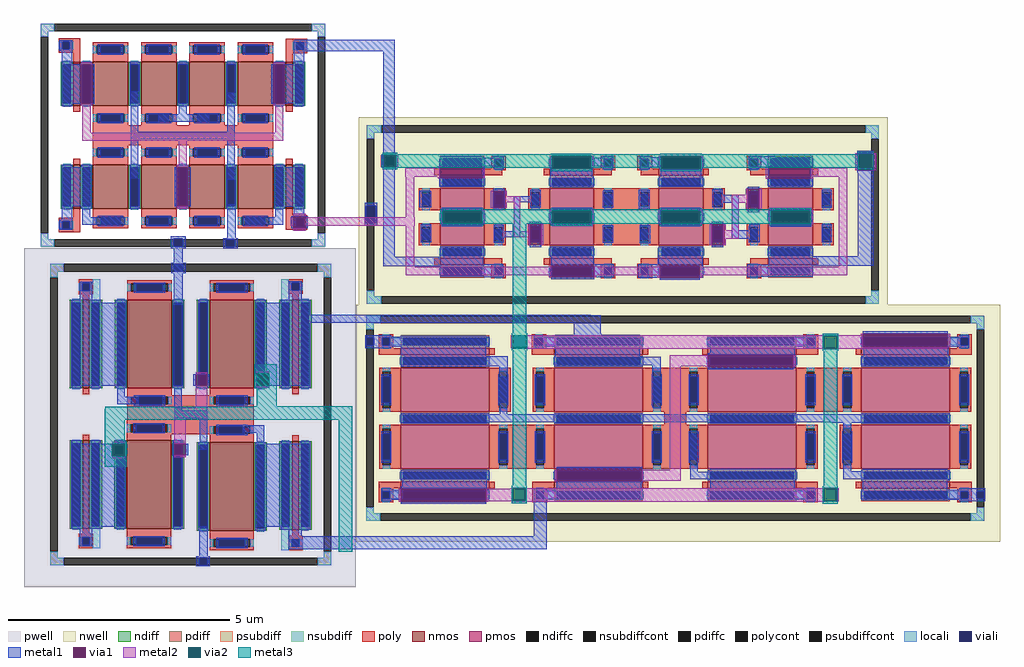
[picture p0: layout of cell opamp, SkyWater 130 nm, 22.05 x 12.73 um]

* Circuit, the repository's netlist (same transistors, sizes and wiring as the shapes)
** sch_path: /home/muqtada/opamp/mag/opamp/opamp.sch
.subckt opamp D5 D5 D2 D1 OUT D8 GND
*.PININFO D5:B D5:B D2:B D1:B OUT:B D8:B GND:B
x1 net1 D5 D1 D2 pmoscs
x2 D1 D2 net2 GND nmoscs
x3 D5 net3 net1 net4 D8 OUT pmos67
x4 OUT D8 GND nmos89
.ends

* expanding   symbol:  /home/muqtada/opamp/mag/pmoscs/pmoscs.sym # of pins=4
** sym_path: /home/muqtada/opamp/mag/pmoscs/pmoscs.sym
** sch_path: /home/muqtada/opamp/mag/pmoscs/pmoscs.sch
.subckt pmoscs VDD D5 D1 D2
*.PININFO VDD:B D5:B D2:B D1:B
XM1 D1 D2 VDD VDD sky130_fd_pr__pfet_01v8 L=1 W=2 nf=1 m=2
XM2 D2 D2 VDD VDD sky130_fd_pr__pfet_01v8 L=1 W=2 nf=1 m=2
XM5 D5 D2 VDD VDD sky130_fd_pr__pfet_01v8 L=1 W=2 nf=1 m=2
XM3 VDD VDD VDD VDD sky130_fd_pr__pfet_01v8 L=1 W=2 nf=1 m=2
XM4 VDD VDD VDD VDD sky130_fd_pr__pfet_01v8 L=0.15 W=2 nf=1 m=2
XM6 D1 D1 D1 VDD sky130_fd_pr__pfet_01v8 L=0.15 W=2 nf=1 m=2
XM7 D2 D2 D2 VDD sky130_fd_pr__pfet_01v8 L=0.15 W=2 nf=1 m=2
XM8 D5 D5 D5 VDD sky130_fd_pr__pfet_01v8 L=0.15 W=2 nf=1 m=2
.ends


* expanding   symbol:  /home/muqtada/opamp/mag/nmoscs/nmoscs.sym # of pins=4
** sym_path: /home/muqtada/opamp/mag/nmoscs/nmoscs.sym
** sch_path: /home/muqtada/opamp/mag/nmoscs/nmoscs.sch
.subckt nmoscs D3 D4 RS GND
*.PININFO RS:B D3:B D4:B GND:B
XM3 D3 D3 GND GND sky130_fd_pr__nfet_01v8 L=1 W=2 nf=1 m=2
XM4 D4 D3 RS GND sky130_fd_pr__nfet_01v8 L=1 W=2 nf=1 m=2
XM1 D3 D3 D3 GND sky130_fd_pr__nfet_01v8 L=0.15 W=2 nf=1 m=2
XM5 D4 D4 D4 GND sky130_fd_pr__nfet_01v8 L=0.15 W=2 nf=1 m=2
.ends


* expanding   symbol:  /home/muqtada/opamp/mag/pmos67/pmos67.sym # of pins=6
** sym_path: /home/muqtada/opamp/mag/pmos67/pmos67.sym
** sch_path: /home/muqtada/opamp/mag/pmos67/pmos67.sch
.subckt pmos67 D5 VIN VDD VIP D6 OUT
*.PININFO VDD:B D5:B VIN:I VIP:I OUT:B D6:B
XM6 D6 VIN D5 VDD sky130_fd_pr__pfet_01v8 L=0.5 W=1 nf=1 m=4
XM7 OUT VIP D5 VDD sky130_fd_pr__pfet_01v8 L=0.5 W=1 nf=1 m=4
XM1 D6 D6 D6 VDD sky130_fd_pr__pfet_01v8 L=0.15 W=1 nf=1 m=4
XM2 OUT OUT OUT VDD sky130_fd_pr__pfet_01v8 L=0.15 W=1 nf=1 m=4
.ends


* expanding   symbol:  /home/muqtada/opamp/mag/nmos89/nmos89.sym # of pins=3
** sym_path: /home/muqtada/opamp/mag/nmos89/nmos89.sym
** sch_path: /home/muqtada/opamp/mag/nmos89/nmos89.sch
.subckt nmos89 OUT D8 GND
*.PININFO GND:B OUT:B D8:B
XM8 D8 D8 GND GND sky130_fd_pr__nfet_01v8 L=0.8 W=1 nf=1 m=4
XM9 OUT D8 GND GND sky130_fd_pr__nfet_01v8 L=0.8 W=1 nf=1 m=4
XOUT OUT OUT OUT GND sky130_fd_pr__nfet_01v8 L=0.15 W=1 nf=1 m=2
XD8 D8 D8 D8 GND sky130_fd_pr__nfet_01v8 L=0.15 W=1 nf=1 m=2
.ends

.end

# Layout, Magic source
magic
tech sky130A
magscale 1 2
<< viali >>
rect -2179 3129 -2137 3163
<< metal1 >>
rect -1631 4011 -1180 4062
rect -1231 3407 -1180 4011
rect -1648 3211 -1638 3266
rect -1583 3211 -1573 3266
rect -2191 3163 -2124 3175
rect -2191 3129 -2179 3163
rect -2137 3129 -2124 3163
rect -2191 3121 -2124 3129
rect -2178 2971 -2137 3121
rect -1602 2820 -297 2821
rect -1602 2819 -294 2820
rect -1602 2785 -249 2819
rect -371 2734 -249 2785
rect -371 2698 -247 2734
rect -371 2696 -325 2698
rect -371 2676 -286 2696
rect -283 2676 -247 2698
rect -371 2641 -247 2676
rect -371 2640 -266 2641
rect -1658 1820 -1600 1865
rect -552 1820 -494 2032
rect -1658 1762 -494 1820
<< via1 >>
rect -1638 3211 -1583 3266
<< metal2 >>
rect -1638 3266 -1583 3276
rect -1650 3223 -1638 3262
rect -1130 3262 -1091 3285
rect -1583 3223 -1090 3262
rect -1130 3212 -1091 3223
rect -1638 3201 -1583 3211
<< metal3 >>
rect -646 2675 -586 3289
rect -1804 2408 -1748 2555
rect -1816 2348 -1372 2408
rect -1815 2347 -1372 2348
rect -1804 2346 -1748 2347
rect -1433 1751 -1372 2347
use nmos89  nmos89_0 ~/opamp/mag/nmos89
transform 1 0 -2602 0 -1 4005
box -177 -131 1107 884
use nmoscs  nmoscs_0 ~/opamp/mag/nmoscs
transform 1 0 -2446 0 1 2400
box -409 -811 1089 721
use pmos67  pmos67_0 ~/opamp/mag/pmos67
transform 0 -1 704 1 0 3040
box -206 -342 672 2046
use pmoscs  pmoscs_0 ~/opamp/mag/pmoscs
transform 0 -1 734 1 0 2034
box -238 -820 833 2087
<< end >>

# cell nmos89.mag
magic
tech sky130A
magscale 1 2
<< pwell >>
rect -97 745 -31 811
rect 961 734 1027 800
rect -97 -65 -31 1
rect 961 -63 1027 3
<< ndiff >>
rect 1010 506 1016 706
<< psubdiff >>
rect -177 843 -117 877
rect 1047 843 1107 877
rect -177 817 -143 843
rect 1073 817 1107 843
rect -177 -97 -143 -71
rect 1073 -97 1107 -71
rect -177 -131 -117 -97
rect 1047 -131 1107 -97
<< psubdiffcont >>
rect -117 843 1047 877
rect -177 -71 -143 817
rect 1073 -71 1107 817
rect -117 -131 1047 -97
<< poly >>
rect -97 795 0 811
rect -97 761 -81 795
rect -47 761 0 795
rect -97 745 0 761
rect -30 693 0 745
rect 930 784 1027 800
rect 930 750 977 784
rect 1011 750 1027 784
rect 930 734 1027 750
rect 930 696 960 734
rect 58 417 872 418
rect 57 329 873 417
rect -30 242 0 243
rect 930 228 960 243
rect -30 1 0 53
rect -97 -15 0 1
rect -97 -49 -81 -15
rect -47 -49 0 -15
rect -97 -65 0 -49
rect 930 3 960 55
rect 930 -13 1027 3
rect 930 -47 977 -13
rect 1011 -47 1027 -13
rect 930 -63 1027 -47
<< polycont >>
rect -81 761 -47 795
rect 977 750 1011 784
rect -81 -49 -47 -15
rect 977 -47 1011 -13
<< locali >>
rect -177 843 -117 877
rect 1047 843 1107 877
rect -177 817 -143 843
rect 1073 817 1107 843
rect -97 761 -81 795
rect -47 761 -31 795
rect 961 750 977 784
rect 1011 750 1027 784
rect 972 696 1006 698
rect -76 693 -42 695
rect 972 228 1006 231
rect 972 53 1006 55
rect -76 51 -42 53
rect -97 -49 -81 -15
rect -47 -49 -31 -15
rect 961 -47 977 -13
rect 1011 -47 1027 -13
rect -177 -97 -143 -71
rect 1073 -97 1107 -71
rect -177 -131 -117 -97
rect 1047 -131 1107 -97
<< viali >>
rect 658 877 700 878
rect 658 844 700 877
rect -81 761 -47 795
rect 977 750 1011 784
rect -81 -49 -47 -15
rect 977 -47 1011 -13
<< metal1 >>
rect 646 878 712 884
rect 646 844 658 878
rect 700 844 712 878
rect 646 838 712 844
rect -93 795 -35 801
rect -93 761 -81 795
rect -47 761 -35 795
rect -93 755 -35 761
rect -82 694 -35 755
rect 11 743 202 778
rect 11 698 46 743
rect 10 694 48 698
rect -82 693 48 694
rect -77 662 48 693
rect -77 519 47 662
rect -6 517 45 519
rect 230 392 264 568
rect 428 517 438 695
rect 490 517 500 695
rect 666 686 704 838
rect 965 784 1023 790
rect 745 743 918 778
rect 883 696 918 743
rect 965 750 977 784
rect 1011 750 1023 784
rect 965 744 1023 750
rect 965 696 1012 744
rect 883 695 974 696
rect 883 694 1010 695
rect 666 392 700 574
rect 878 519 1011 694
rect 884 518 905 519
rect 230 358 700 392
rect -82 231 -35 243
rect -45 230 3 231
rect -75 53 3 230
rect 55 53 65 231
rect 230 175 264 358
rect 353 279 583 313
rect 447 241 482 279
rect 666 181 700 358
rect 864 53 874 231
rect 926 229 936 231
rect 965 229 1012 243
rect 926 228 1012 229
rect 926 55 1005 228
rect 926 53 1012 55
rect -82 -9 -35 53
rect 885 52 1012 53
rect -93 -15 -35 -9
rect -93 -49 -81 -15
rect -47 -49 -35 -15
rect -93 -55 -35 -49
rect 965 -7 1012 52
rect 965 -13 1023 -7
rect 965 -47 977 -13
rect 1011 -47 1023 -13
rect 965 -53 1023 -47
<< via1 >>
rect 438 517 490 695
rect 3 53 55 231
rect 874 53 926 231
<< metal2 >>
rect 438 695 490 705
rect 438 507 490 517
rect 446 398 483 507
rect 11 361 919 398
rect 11 241 48 361
rect 882 241 919 361
rect 3 231 55 241
rect 3 43 55 53
rect 874 231 926 241
rect 874 43 926 53
use sky130_fd_pr__nfet_01v8_6H9P4D  sky130_fd_pr__nfet_01v8_6H9P4D_0
transform 1 0 945 0 1 141
box -73 -126 73 126
use sky130_fd_pr__nfet_01v8_6H9P4D  sky130_fd_pr__nfet_01v8_6H9P4D_2
transform 1 0 -15 0 1 141
box -73 -126 73 126
use sky130_fd_pr__nfet_01v8_6H9P4D  sky130_fd_pr__nfet_01v8_6H9P4D_3
transform 1 0 945 0 1 606
box -73 -126 73 126
use sky130_fd_pr__nfet_01v8_6H9P4D  sky130_fd_pr__nfet_01v8_6H9P4D_4
transform 1 0 -15 0 1 606
box -73 -126 73 126
use sky130_fd_pr__nfet_01v8_DXNGNZ  sky130_fd_pr__nfet_01v8_DXNGNZ_0
transform 1 0 465 0 1 606
box -465 -188 465 188
use sky130_fd_pr__nfet_01v8_DXNGNZ  sky130_fd_pr__nfet_01v8_DXNGNZ_1
transform 1 0 465 0 1 141
box -465 -188 465 188
<< labels >>
flabel via1 448 592 486 628 0 FreeSans 160 0 0 0 out
flabel metal1 880 598 918 634 0 FreeSans 160 0 0 0 d8
flabel via1 882 191 920 227 0 FreeSans 160 0 0 0 out
flabel via1 12 169 50 205 0 FreeSans 160 0 0 0 out
flabel metal1 16 592 41 623 0 FreeSans 160 0 0 0 d8
flabel viali -51 774 -51 774 0 FreeSans 800 0 0 0 d8
port 0 nsew
flabel viali -63 -43 -63 -43 0 FreeSans 800 0 0 0 out
port 1 nsew
flabel space 228 175 266 211 0 FreeSans 160 0 0 0 gnd
flabel space 666 179 704 215 0 FreeSans 160 0 0 0 gnd
flabel space 764 173 802 209 0 FreeSans 160 0 0 0 d8
flabel space 544 163 582 199 0 FreeSans 160 0 0 0 d8
flabel space 446 173 484 209 0 FreeSans 160 0 0 0 d8
flabel space 342 159 380 195 0 FreeSans 160 0 0 0 d8
flabel space 106 163 144 199 0 FreeSans 160 0 0 0 d8
flabel space 772 592 810 628 0 FreeSans 160 0 0 0 d8
flabel space 550 598 588 634 0 FreeSans 160 0 0 0 d8
flabel space 336 594 374 630 0 FreeSans 160 0 0 0 d8
flabel space 230 592 268 628 0 FreeSans 160 0 0 0 gnd
flabel space 102 580 140 616 0 FreeSans 160 0 0 0 d8
flabel metal1 666 686 704 878 0 FreeSans 800 0 0 0 gnd
port 2 nsew
<< end >>

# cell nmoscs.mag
magic
tech sky130A
magscale 1 2
<< pwell >>
rect -409 -811 1089 721
<< psubdiff >>
rect -290 616 -230 650
rect 918 616 978 650
rect -290 590 -256 616
rect 944 590 978 616
rect -290 -677 -256 -651
rect 944 -677 978 -651
rect -290 -711 -230 -677
rect 918 -711 978 -677
<< psubdiffcont >>
rect -230 616 918 650
rect -290 -651 -256 590
rect 944 -651 978 590
rect -230 -711 918 -677
<< poly >>
rect -162 564 -97 580
rect -162 530 -146 564
rect -112 530 -97 564
rect -162 514 -97 530
rect 785 565 850 581
rect 785 531 800 565
rect 834 531 850 565
rect 785 515 850 531
rect -144 488 -114 514
rect 802 488 832 515
rect 58 -118 630 56
rect -144 -569 -114 -543
rect -162 -585 -97 -569
rect 802 -577 832 -576
rect -162 -619 -146 -585
rect -112 -619 -97 -585
rect -162 -635 -97 -619
rect 785 -593 850 -577
rect 785 -627 800 -593
rect 834 -627 850 -593
rect 785 -643 850 -627
<< polycont >>
rect -146 530 -112 564
rect 800 531 834 565
rect -146 -619 -112 -585
rect 800 -627 834 -593
<< locali >>
rect -290 616 -230 650
rect 918 616 978 650
rect -290 590 -256 616
rect 944 590 978 616
rect -99 564 -65 580
rect -162 530 -146 564
rect -112 530 -65 564
rect -163 488 -156 491
rect -102 488 -65 530
rect 753 565 787 581
rect 753 531 800 565
rect 834 531 850 565
rect 753 488 790 531
rect 844 488 856 492
rect -163 -546 -156 -543
rect -102 -585 -65 -543
rect -162 -619 -146 -585
rect -112 -619 -65 -585
rect -99 -635 -65 -619
rect 753 -593 787 -528
rect 753 -627 800 -593
rect 834 -627 850 -593
rect 753 -643 787 -627
rect -290 -677 -256 -651
rect 944 -677 978 -651
rect -290 -711 -230 -677
rect 918 -711 978 -677
<< viali >>
rect 268 616 310 649
rect 268 615 310 616
rect -146 530 -112 564
rect 800 531 834 565
rect -146 -619 -112 -585
rect 800 -627 834 -593
rect 382 -677 418 -676
rect 382 -710 418 -677
<< metal1 >>
rect 256 649 322 655
rect 256 615 268 649
rect 310 615 322 649
rect 256 609 322 615
rect -158 564 -100 570
rect -158 530 -146 564
rect -112 530 -100 564
rect -158 476 -100 530
rect -190 106 45 476
rect 268 467 309 609
rect 788 565 846 571
rect 788 531 800 565
rect 834 531 846 565
rect 788 476 846 531
rect 642 152 878 476
rect -190 100 46 106
rect 12 50 46 100
rect 12 16 110 50
rect 270 -13 304 101
rect 356 100 366 152
rect 418 100 428 152
rect 632 100 642 152
rect 694 100 878 152
rect 270 -47 418 -13
rect -190 -214 -6 -162
rect 46 -214 56 -162
rect 260 -214 270 -162
rect 322 -214 332 -162
rect 384 -190 418 -47
rect 580 -112 676 -78
rect 642 -162 676 -112
rect -190 -538 46 -214
rect -158 -585 -100 -538
rect -158 -619 -146 -585
rect -112 -619 -100 -585
rect -158 -625 -100 -619
rect 382 -670 420 -534
rect 642 -538 878 -162
rect 788 -593 846 -538
rect 788 -627 800 -593
rect 834 -627 846 -593
rect 788 -633 846 -627
rect 370 -676 430 -670
rect 370 -710 382 -676
rect 418 -710 430 -676
rect 370 -716 430 -710
<< via1 >>
rect 366 100 418 152
rect 642 100 694 152
rect -6 -214 46 -162
rect 270 -214 322 -162
<< metal2 >>
rect 366 152 418 162
rect 366 1 418 100
rect 642 156 698 166
rect 642 90 698 100
rect 270 -51 418 1
rect -10 -162 46 -152
rect -10 -228 46 -218
rect 270 -162 322 -51
rect 270 -224 322 -214
<< via2 >>
rect 642 152 698 156
rect 642 100 694 152
rect 694 100 698 152
rect -10 -214 -6 -162
rect -6 -214 46 -162
rect -10 -218 46 -214
<< metal3 >>
rect 632 156 732 198
rect 632 100 642 156
rect 698 100 732 156
rect 632 88 732 100
rect 642 6 732 88
rect -43 -3 732 6
rect -44 -54 732 -3
rect -44 -150 46 -54
rect -44 -162 56 -150
rect -44 -218 -10 -162
rect 46 -218 56 -162
rect -44 -266 56 -218
use sky130_fd_pr__nfet_01v8_46AAJJ  sky130_fd_pr__nfet_01v8_46AAJJ_0
transform 1 0 530 0 1 288
box -158 -288 158 288
use sky130_fd_pr__nfet_01v8_46AAJJ  sky130_fd_pr__nfet_01v8_46AAJJ_1
transform 1 0 530 0 1 -355
box -158 -288 158 288
use sky130_fd_pr__nfet_01v8_46AAJJ  sky130_fd_pr__nfet_01v8_46AAJJ_2
transform 1 0 158 0 1 288
box -158 -288 158 288
use sky130_fd_pr__nfet_01v8_46AAJJ  sky130_fd_pr__nfet_01v8_46AAJJ_3
transform 1 0 156 0 1 -347
box -158 -288 158 288
use sky130_fd_pr__nfet_01v8_LGC7FM  sky130_fd_pr__nfet_01v8_LGC7FM_0
transform 1 0 817 0 1 288
box -73 -226 73 226
use sky130_fd_pr__nfet_01v8_LGC7FM  sky130_fd_pr__nfet_01v8_LGC7FM_1
transform 1 0 -129 0 1 -347
box -73 -226 73 226
use sky130_fd_pr__nfet_01v8_LGC7FM  sky130_fd_pr__nfet_01v8_LGC7FM_2
transform 1 0 817 0 1 -350
box -73 -226 73 226
use sky130_fd_pr__nfet_01v8_LGC7FM  sky130_fd_pr__nfet_01v8_LGC7FM_3
transform 1 0 -129 0 1 288
box -73 -226 73 226
<< labels >>
flabel metal1 20 46 36 62 0 FreeSans 800 0 0 0 D3
port 0 nsew
flabel viali 292 630 292 630 0 FreeSans 800 0 0 0 GND
port 1 nsew
flabel metal2 392 68 392 68 0 FreeSans 800 0 0 0 RS
port 2 nsew
flabel metal3 682 32 682 32 0 FreeSans 800 0 0 0 D4
port 3 nsew
<< end >>

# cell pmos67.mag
magic
tech sky130A
magscale 1 2
<< nwell >>
rect -206 -342 672 2046
<< nsubdiff >>
rect -170 1976 -110 2010
rect 576 1976 636 2010
rect -170 1945 -136 1976
rect 602 1945 636 1976
rect -170 -269 -136 -243
rect 602 -269 636 -243
rect -170 -303 -110 -269
rect 576 -303 636 -269
<< nsubdiffcont >>
rect -110 1976 576 2010
rect -170 -243 -136 1945
rect 602 -243 636 1945
rect -110 -303 576 -269
<< poly >>
rect 6 1448 36 1479
rect -54 1432 36 1448
rect -54 1398 -38 1432
rect -4 1398 36 1432
rect 410 1448 440 1489
rect 410 1432 500 1448
rect 410 1398 450 1432
rect 484 1398 500 1432
rect -54 1382 12 1398
rect 434 1382 500 1398
rect 6 954 36 984
rect -54 938 36 954
rect -54 904 -38 938
rect -4 904 36 938
rect 410 954 440 985
rect 410 938 500 954
rect 410 904 450 938
rect 484 904 500 938
rect -54 888 12 904
rect 434 888 500 904
rect 94 788 194 888
rect 252 788 352 888
rect -54 772 12 788
rect 434 772 500 788
rect -54 738 -38 772
rect -4 738 36 772
rect -54 722 36 738
rect 6 691 36 722
rect 410 738 450 772
rect 484 738 500 772
rect 410 722 500 738
rect 410 692 440 722
rect -54 278 12 294
rect 434 278 500 294
rect -54 244 -38 278
rect -4 244 36 278
rect -54 228 36 244
rect 6 197 36 228
rect 410 244 450 278
rect 484 244 500 278
rect 410 228 500 244
rect 410 198 440 228
<< polycont >>
rect -38 1398 -4 1432
rect 450 1398 484 1432
rect -38 904 -4 938
rect 450 904 484 938
rect -38 738 -4 772
rect 450 738 484 772
rect -38 244 -4 278
rect 450 244 484 278
<< locali >>
rect -170 1976 -110 2010
rect 576 1976 636 2010
rect -170 1945 -136 1976
rect 602 1945 636 1976
rect -40 1475 -6 1479
rect -54 1398 -38 1432
rect -4 1398 12 1432
rect 434 1398 450 1432
rect 484 1398 500 1432
rect -40 981 -6 984
rect 452 981 486 985
rect -54 904 -38 938
rect -4 904 12 938
rect 434 904 450 938
rect 484 904 500 938
rect -54 738 -38 772
rect -4 738 12 772
rect 434 738 450 772
rect 484 738 500 772
rect -40 691 -6 695
rect 452 692 486 695
rect -54 244 -38 278
rect -4 244 12 278
rect 434 244 450 278
rect 484 244 500 278
rect -40 197 -6 201
rect 452 198 486 201
rect -170 -269 -136 -243
rect 602 -269 636 -243
rect -170 -303 -110 -269
rect 576 -303 636 -269
<< viali >>
rect 195 2010 274 2014
rect 195 1976 274 2010
rect 195 1969 274 1976
rect -38 1398 -4 1432
rect 450 1398 484 1432
rect -38 904 -4 938
rect 450 904 484 938
rect -38 738 -4 772
rect 450 738 484 772
rect -38 244 -4 278
rect 450 244 484 278
<< metal1 >>
rect 183 2014 286 2020
rect 183 1969 195 2014
rect 274 1969 286 2014
rect 183 1963 286 1969
rect 436 1936 446 1938
rect 0 1935 43 1936
rect 396 1935 446 1936
rect 0 1884 446 1935
rect 0 1844 43 1884
rect 436 1880 446 1884
rect 502 1880 512 1938
rect -41 1485 -34 1668
rect 0 1485 42 1844
rect 108 1719 189 1766
rect 266 1721 342 1773
rect 360 1681 485 1683
rect 43 1485 83 1668
rect 180 1488 190 1669
rect 253 1488 263 1669
rect 360 1487 398 1681
rect 451 1674 485 1681
rect 451 1491 496 1674
rect 451 1487 489 1491
rect -34 1479 9 1485
rect 360 1482 489 1487
rect -50 1432 9 1479
rect -50 1398 -38 1432
rect -4 1398 9 1432
rect -50 1393 9 1398
rect -50 1392 0 1393
rect 107 1391 188 1438
rect 131 1346 159 1391
rect 254 1388 264 1440
rect 340 1388 350 1440
rect 451 1438 489 1482
rect 438 1432 496 1438
rect 438 1398 450 1432
rect 484 1398 496 1432
rect 438 1392 496 1398
rect 131 1318 316 1346
rect 86 1222 96 1274
rect 191 1222 201 1274
rect 288 1271 316 1318
rect 264 1224 345 1271
rect -42 1179 0 1181
rect -51 1178 0 1179
rect 43 1179 86 1181
rect 43 1178 87 1179
rect -60 984 -50 1178
rect 3 985 87 1178
rect 182 995 192 1176
rect 255 995 265 1176
rect 362 1174 496 1181
rect 357 998 440 1174
rect 492 998 496 1174
rect 357 991 491 998
rect 3 984 13 985
rect -50 938 8 984
rect -50 904 -38 938
rect -4 904 8 938
rect -50 894 8 904
rect 105 898 186 945
rect 451 944 489 985
rect 263 896 344 943
rect 438 938 496 944
rect 438 904 450 938
rect 484 904 496 938
rect 438 898 496 904
rect -52 772 8 784
rect -52 738 -38 772
rect -4 738 8 772
rect -52 697 8 738
rect 103 731 184 778
rect 257 732 346 783
rect 438 772 496 778
rect 438 738 450 772
rect 484 738 496 772
rect 438 732 496 738
rect -52 688 83 697
rect -62 506 -52 688
rect 2 506 83 688
rect -49 493 83 506
rect 180 503 190 684
rect 253 503 263 684
rect 446 682 493 732
rect 360 680 494 682
rect 360 504 440 680
rect 492 504 494 680
rect 360 499 494 504
rect 85 400 95 452
rect 190 400 200 452
rect 266 403 347 450
rect 287 361 322 403
rect 125 331 322 361
rect -49 278 8 291
rect 125 283 163 331
rect -49 244 -38 278
rect -4 244 8 278
rect -49 234 8 244
rect 108 236 189 283
rect 244 237 254 289
rect 349 237 359 289
rect 438 278 496 284
rect 438 244 450 278
rect 484 244 496 278
rect 438 238 496 244
rect -47 194 7 234
rect 446 198 496 238
rect -47 187 46 194
rect 386 187 396 198
rect -47 6 80 187
rect -47 -3 46 6
rect 179 4 189 185
rect 252 4 262 185
rect 357 4 396 187
rect 449 168 496 198
rect 449 4 491 168
rect 2 -208 46 -3
rect 108 -91 189 -44
rect 265 -91 346 -44
rect 424 -208 434 -206
rect 1 -279 434 -208
rect 351 -280 434 -279
rect 511 -280 521 -206
<< via1 >>
rect 446 1880 502 1938
rect 190 1488 253 1669
rect 398 1487 451 1681
rect 264 1388 340 1440
rect 96 1222 191 1274
rect -50 984 3 1178
rect 192 995 255 1176
rect 440 998 492 1174
rect -52 506 2 688
rect 190 503 253 684
rect 440 504 492 680
rect 95 400 190 452
rect 254 237 349 289
rect 189 4 252 185
rect 396 4 449 198
rect 434 -280 511 -206
<< metal2 >>
rect 446 1944 502 1948
rect 446 1938 503 1944
rect 502 1934 503 1938
rect 446 1878 447 1880
rect 446 1870 503 1878
rect 447 1868 503 1870
rect 405 1834 444 1837
rect -41 1795 444 1834
rect -41 1188 -2 1795
rect 405 1691 444 1795
rect 398 1681 451 1691
rect 190 1669 253 1679
rect 190 1478 253 1488
rect 398 1477 451 1487
rect 264 1440 340 1450
rect 264 1378 340 1388
rect 288 1346 316 1378
rect 131 1318 316 1346
rect 131 1284 159 1318
rect 96 1274 191 1284
rect 96 1214 191 1222
rect -50 1178 3 1188
rect 192 1176 255 1186
rect 192 985 255 995
rect 440 1175 498 1185
rect 440 987 498 997
rect -50 974 3 984
rect -41 698 -2 974
rect -52 688 2 698
rect -52 496 2 506
rect 190 684 253 694
rect -41 -121 -2 496
rect 190 493 253 503
rect 439 680 497 690
rect 439 492 497 502
rect 95 452 190 462
rect 95 390 190 400
rect 125 361 163 390
rect 125 331 322 361
rect 287 299 322 331
rect 254 289 349 299
rect 254 227 349 237
rect 396 198 449 208
rect 189 185 252 195
rect 189 -6 252 4
rect 396 -6 449 4
rect 405 -121 444 -6
rect -41 -160 444 -121
rect 434 -206 511 -196
rect 434 -290 511 -280
<< via2 >>
rect 447 1880 502 1934
rect 502 1880 503 1934
rect 447 1878 503 1880
rect 193 1489 251 1667
rect 193 997 251 1175
rect 440 1174 498 1175
rect 440 998 492 1174
rect 492 998 498 1174
rect 440 997 498 998
rect 193 503 251 681
rect 439 504 440 680
rect 440 504 492 680
rect 492 504 497 680
rect 439 502 497 504
rect 193 7 251 185
rect 445 -274 506 -213
<< metal3 >>
rect 446 1943 506 1944
rect 445 1939 506 1943
rect 437 1934 513 1939
rect 437 1878 447 1934
rect 503 1878 513 1934
rect 437 1873 513 1878
rect 191 1672 258 1679
rect 183 1667 261 1672
rect 183 1489 193 1667
rect 251 1489 261 1667
rect 183 1484 261 1489
rect 191 1180 258 1484
rect 445 1180 506 1873
rect 183 1175 261 1180
rect 183 997 193 1175
rect 251 997 261 1175
rect 183 992 261 997
rect 430 1175 508 1180
rect 430 997 440 1175
rect 498 997 508 1175
rect 430 992 508 997
rect 191 686 258 992
rect 183 681 261 686
rect 445 685 506 992
rect 183 503 193 681
rect 251 503 261 681
rect 183 498 261 503
rect 429 680 507 685
rect 429 502 439 680
rect 497 502 507 680
rect 191 190 258 498
rect 429 497 507 502
rect 183 185 261 190
rect 183 7 193 185
rect 251 7 261 185
rect 183 2 261 7
rect 445 -208 506 497
rect 435 -213 516 -208
rect 435 -274 445 -213
rect 506 -274 516 -213
rect 435 -279 516 -274
use sky130_fd_pr__pfet_01v8_2XUZHN  sky130_fd_pr__pfet_01v8_2XUZHN_0
transform 1 0 21 0 1 97
box -109 -162 109 162
use sky130_fd_pr__pfet_01v8_2XUZHN  sky130_fd_pr__pfet_01v8_2XUZHN_1
transform 1 0 425 0 1 1579
box -109 -162 109 162
use sky130_fd_pr__pfet_01v8_2XUZHN  sky130_fd_pr__pfet_01v8_2XUZHN_2
transform 1 0 425 0 1 1085
box -109 -162 109 162
use sky130_fd_pr__pfet_01v8_2XUZHN  sky130_fd_pr__pfet_01v8_2XUZHN_3
transform 1 0 425 0 1 591
box -109 -162 109 162
use sky130_fd_pr__pfet_01v8_2XUZHN  sky130_fd_pr__pfet_01v8_2XUZHN_4
transform 1 0 425 0 1 97
box -109 -162 109 162
use sky130_fd_pr__pfet_01v8_2XUZHN  sky130_fd_pr__pfet_01v8_2XUZHN_5
transform 1 0 21 0 1 1579
box -109 -162 109 162
use sky130_fd_pr__pfet_01v8_2XUZHN  sky130_fd_pr__pfet_01v8_2XUZHN_6
transform 1 0 21 0 1 1085
box -109 -162 109 162
use sky130_fd_pr__pfet_01v8_2XUZHN  sky130_fd_pr__pfet_01v8_2XUZHN_7
transform 1 0 21 0 1 591
box -109 -162 109 162
use sky130_fd_pr__pfet_01v8_VQXX5L  sky130_fd_pr__pfet_01v8_VQXX5L_0
transform 1 0 223 0 1 591
box -223 -200 223 200
use sky130_fd_pr__pfet_01v8_VQXX5L  sky130_fd_pr__pfet_01v8_VQXX5L_1
transform 1 0 223 0 1 97
box -223 -200 223 200
use sky130_fd_pr__pfet_01v8_VQXX5L  sky130_fd_pr__pfet_01v8_VQXX5L_2
transform 1 0 223 0 1 1085
box -223 -200 223 200
use sky130_fd_pr__pfet_01v8_VQXX5L  sky130_fd_pr__pfet_01v8_VQXX5L_3
transform 1 0 223 0 1 1579
box -223 -200 223 200
<< labels >>
flabel metal3 217 836 217 836 0 FreeSans 480 0 0 0 D5
port 0 nsew
flabel metal1 144 1364 144 1364 0 FreeSans 480 0 0 0 VIP
port 1 nsew
flabel metal2 299 1364 299 1364 0 FreeSans 480 0 0 0 VIN
port 2 nsew
flabel metal2 136 1819 136 1819 0 FreeSans 480 0 0 0 D6
port 3 nsew
flabel metal3 480 1780 480 1780 0 FreeSans 480 0 0 0 OUT
port 4 nsew
flabel viali 229 1989 229 1989 0 FreeSans 480 0 0 0 VDD
port 5 nsew
<< end >>

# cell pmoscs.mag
magic
tech sky130A
magscale 1 2
<< nwell >>
rect -238 -820 833 2087
<< nsubdiff >>
rect -144 2008 -84 2042
rect 722 2008 782 2042
rect -144 1980 -110 2008
rect 748 1980 782 2008
rect -144 -714 -110 -688
rect 748 -714 782 -688
rect -144 -748 -84 -714
rect 722 -748 782 -714
<< nsubdiffcont >>
rect -84 2008 722 2042
rect -144 -688 -110 1980
rect 748 -688 782 1980
rect -84 -748 722 -714
<< poly >>
rect -60 1970 32 1986
rect -60 1936 -44 1970
rect -10 1936 32 1970
rect -60 1920 32 1936
rect 2 1888 32 1920
rect 606 1970 698 1986
rect 606 1936 648 1970
rect 682 1936 698 1970
rect 606 1920 698 1936
rect 606 1913 636 1920
rect -60 1276 32 1292
rect 90 1291 290 1391
rect -60 1242 -44 1276
rect -10 1242 32 1276
rect -60 1226 32 1242
rect 2 1194 32 1226
rect 606 1280 698 1295
rect 606 1246 648 1280
rect 682 1246 698 1280
rect 606 1230 698 1246
rect 606 1218 636 1230
rect 90 697 160 698
rect 90 597 548 697
rect 2 69 32 101
rect -60 53 32 69
rect 606 68 636 100
rect -60 19 -44 53
rect -10 19 32 53
rect -60 3 32 19
rect 348 -97 548 62
rect 606 52 698 68
rect 606 18 648 52
rect 682 18 698 52
rect 606 2 698 18
rect 2 -626 32 -594
rect -60 -642 32 -626
rect -60 -676 -44 -642
rect -10 -676 32 -642
rect -60 -692 32 -676
rect 606 -626 636 -594
rect 606 -642 698 -626
rect 606 -676 648 -642
rect 682 -676 698 -642
rect 606 -692 698 -676
<< polycont >>
rect -44 1936 -10 1970
rect 648 1936 682 1970
rect -44 1242 -10 1276
rect 648 1246 682 1280
rect -44 19 -10 53
rect 648 18 682 52
rect -44 -676 -10 -642
rect 648 -676 682 -642
<< locali >>
rect -144 2008 -84 2042
rect 722 2008 782 2042
rect -144 1980 -110 2008
rect 748 1980 782 2008
rect -60 1936 -44 1970
rect -10 1936 6 1970
rect 632 1936 648 1970
rect 682 1936 698 1970
rect -44 1888 -10 1936
rect 648 1885 682 1936
rect -60 1242 -44 1276
rect -10 1242 6 1276
rect 632 1246 648 1280
rect 682 1246 698 1280
rect -44 1194 -10 1242
rect 648 1194 682 1246
rect -44 497 -10 501
rect -44 53 -10 101
rect -60 19 -44 53
rect -10 19 6 53
rect 648 52 682 100
rect 632 18 648 52
rect 682 18 698 52
rect -44 -642 -10 -594
rect 648 -642 682 -594
rect -60 -676 -44 -642
rect -10 -676 6 -642
rect 632 -676 648 -642
rect 682 -676 698 -642
rect -144 -714 -110 -688
rect 748 -714 782 -688
rect -144 -748 -84 -714
rect 722 -748 782 -714
<< viali >>
rect 648 2008 682 2042
rect -44 1936 -10 1970
rect 648 1936 682 1970
rect -44 1242 -10 1276
rect 648 1246 682 1280
rect -44 19 -10 53
rect 648 18 682 52
rect -44 -676 -10 -642
rect 648 -676 682 -642
rect -44 -748 -10 -714
<< metal1 >>
rect 636 2042 694 2048
rect 636 2008 648 2042
rect 682 2008 694 2042
rect -56 1970 2 1976
rect -56 1936 -44 1970
rect -10 1936 2 1970
rect -56 1930 2 1936
rect 636 1970 694 2008
rect 636 1936 648 1970
rect 682 1936 694 1970
rect 636 1930 694 1936
rect -50 1888 -4 1930
rect 642 1886 688 1930
rect -67 1501 -57 1886
rect 0 1880 10 1886
rect 0 1501 87 1880
rect -52 1498 87 1501
rect 301 1440 337 1876
rect 552 1504 691 1886
rect 553 1442 600 1504
rect 393 1440 600 1442
rect 301 1405 600 1440
rect -56 1276 2 1282
rect -56 1242 -44 1276
rect -10 1242 2 1276
rect -56 1236 2 1242
rect -50 1194 -4 1236
rect -48 800 35 1182
rect 25 795 35 800
rect 87 795 97 1182
rect 44 546 262 580
rect -50 497 -4 501
rect 44 490 78 546
rect -48 108 91 490
rect -50 59 -4 101
rect -56 53 2 59
rect -56 19 -44 53
rect -10 19 2 53
rect -56 13 2 19
rect 301 -56 337 1405
rect 393 1403 600 1405
rect 636 1280 694 1286
rect 636 1246 648 1280
rect 682 1246 694 1280
rect 636 1240 694 1246
rect 642 1190 688 1240
rect 558 808 697 1190
rect 558 751 597 808
rect 367 712 597 751
rect 541 113 551 500
rect 603 490 613 500
rect 603 113 685 490
rect 546 108 685 113
rect 642 58 688 100
rect 636 52 694 58
rect 636 18 648 52
rect 682 18 694 52
rect 636 12 694 18
rect 44 -112 80 -111
rect 298 -112 337 -56
rect 44 -148 337 -112
rect 44 -200 80 -148
rect -51 -582 88 -200
rect 298 -207 337 -148
rect 631 -204 641 -200
rect 44 -585 80 -582
rect 301 -594 337 -207
rect 557 -585 641 -204
rect 702 -585 712 -200
rect 557 -586 696 -585
rect -50 -636 -4 -594
rect 642 -636 688 -594
rect -56 -642 2 -636
rect -56 -676 -44 -642
rect -10 -676 2 -642
rect -56 -714 2 -676
rect 636 -642 694 -636
rect 636 -676 648 -642
rect 682 -676 694 -642
rect 636 -682 694 -676
rect -56 -748 -44 -714
rect -10 -748 2 -714
rect -56 -754 2 -748
<< via1 >>
rect -57 1501 0 1886
rect 35 795 87 1182
rect 551 113 603 500
rect 641 -585 702 -200
<< metal2 >>
rect -57 1886 0 1896
rect 0 1501 1 1517
rect -57 1491 1 1501
rect -56 1390 1 1491
rect -56 1381 4 1390
rect 636 1381 694 1390
rect -59 1380 4 1381
rect -59 1322 -54 1380
rect -59 1312 4 1322
rect 633 1380 694 1381
rect 633 1320 636 1380
rect -59 -24 2 1312
rect 35 1182 87 1192
rect 35 785 87 795
rect 36 672 86 785
rect 36 622 603 672
rect 553 510 603 622
rect 551 500 603 510
rect 551 103 603 113
rect -59 -82 -56 -24
rect -56 -92 2 -82
rect 633 -24 694 1320
rect 633 -84 634 -24
rect 692 -84 694 -24
rect 633 -190 694 -84
rect 633 -200 702 -190
rect 633 -585 641 -200
rect 641 -595 702 -585
<< via2 >>
rect -54 1322 4 1380
rect 636 1320 694 1380
rect -56 -82 2 -24
rect 634 -84 692 -24
<< metal3 >>
rect -64 1380 14 1385
rect 626 1380 704 1385
rect -64 1322 -54 1380
rect 4 1322 636 1380
rect -64 1320 636 1322
rect 694 1320 704 1380
rect -64 1317 14 1320
rect 626 1315 704 1320
rect -66 -24 12 -19
rect 624 -24 702 -19
rect -66 -82 -56 -24
rect 2 -82 634 -24
rect -66 -84 634 -82
rect 692 -84 702 -24
rect -66 -87 12 -84
rect 624 -89 702 -84
use sky130_fd_pr__pfet_01v8_2ZH9EN  sky130_fd_pr__pfet_01v8_2ZH9EN_0
transform 1 0 621 0 1 994
box -109 -262 109 262
use sky130_fd_pr__pfet_01v8_2ZH9EN  sky130_fd_pr__pfet_01v8_2ZH9EN_1
transform 1 0 17 0 1 -394
box -109 -262 109 262
use sky130_fd_pr__pfet_01v8_2ZH9EN  sky130_fd_pr__pfet_01v8_2ZH9EN_2
transform 1 0 621 0 1 -394
box -109 -262 109 262
use sky130_fd_pr__pfet_01v8_2ZH9EN  sky130_fd_pr__pfet_01v8_2ZH9EN_3
transform 1 0 621 0 1 300
box -109 -262 109 262
use sky130_fd_pr__pfet_01v8_2ZH9EN  sky130_fd_pr__pfet_01v8_2ZH9EN_4
transform 1 0 17 0 1 300
box -109 -262 109 262
use sky130_fd_pr__pfet_01v8_2ZH9EN  sky130_fd_pr__pfet_01v8_2ZH9EN_5
transform 1 0 17 0 1 994
box -109 -262 109 262
use sky130_fd_pr__pfet_01v8_2ZH9EN  sky130_fd_pr__pfet_01v8_2ZH9EN_6
transform 1 0 621 0 1 1688
box -109 -262 109 262
use sky130_fd_pr__pfet_01v8_2ZH9EN  sky130_fd_pr__pfet_01v8_2ZH9EN_7
transform 1 0 17 0 1 1688
box -109 -262 109 262
use sky130_fd_pr__pfet_01v8_SDE6B7  sky130_fd_pr__pfet_01v8_SDE6B7_0
transform 1 0 319 0 1 -394
box -323 -300 323 300
use sky130_fd_pr__pfet_01v8_SDE6B7  sky130_fd_pr__pfet_01v8_SDE6B7_1
transform 1 0 319 0 1 300
box -323 -300 323 300
use sky130_fd_pr__pfet_01v8_SDE6B7  sky130_fd_pr__pfet_01v8_SDE6B7_2
transform 1 0 319 0 1 994
box -323 -300 323 300
use sky130_fd_pr__pfet_01v8_SDE6B7  sky130_fd_pr__pfet_01v8_SDE6B7_3
transform 1 0 319 0 1 1688
box -323 -300 323 300
<< labels >>
flabel metal1 319 1428 319 1428 0 FreeSans 160 0 0 0 VDD
port 0 nsew
flabel metal2 667 597 667 597 0 FreeSans 160 0 0 0 D5
port 1 nsew
flabel metal2 53 671 53 671 0 FreeSans 160 0 0 0 D1
port 2 nsew
flabel metal1 580 740 580 740 0 FreeSans 160 0 0 0 D2
port 3 nsew
<< end >>

# cell sky130_fd_pr__pfet_01v8_2ZH9EN: kit device sky130_fd_pr__pfet_01v8, w 2 l 0.15 m 1 nf 1 diffcov 100 polycov 100 guard 0 glc 1 grc 1 gtc 1 gbc 1 tbcov 100 rlcov 100 topc 0 botc 0 poverlap 0 doverlap 1 lmin 0.15 wmin 0.42 compatible {sky130_fd_pr__pfet_01v8 sky130_fd_pr__pfet_01v8_lvt sky130_fd_pr__pfet_01v8_hvt sky130_fd_pr__pfet_g5v0d10v5} full_metal 0 viasrc 100 viadrn 100 viagate 100 viagb 0 viagr 0 viagl 0 viagt 0

# cell sky130_fd_pr__pfet_01v8_SDE6B7: kit device sky130_fd_pr__pfet_01v8, w 2 l 1 m 1 nf 2 diffcov 100 polycov 100 guard 0 glc 1 grc 1 gtc 1 gbc 1 tbcov 100 rlcov 100 topc 1 botc 1 poverlap 0 doverlap 1 lmin 0.15 wmin 0.42 compatible {sky130_fd_pr__pfet_01v8 sky130_fd_pr__pfet_01v8_lvt sky130_fd_pr__pfet_01v8_hvt sky130_fd_pr__pfet_g5v0d10v5} full_metal 1 viasrc 100 viadrn 100 viagate 70 viagb 0 viagr 0 viagl 0 viagt 0

# cell sky130_fd_pr__pfet_01v8_2XUZHN: kit device sky130_fd_pr__pfet_01v8, w 1 l 0.15 m 1 nf 1 diffcov 100 polycov 100 guard 0 glc 1 grc 1 gtc 1 gbc 1 tbcov 100 rlcov 100 topc 0 botc 0 poverlap 0 doverlap 1 lmin 0.15 wmin 0.42 compatible {sky130_fd_pr__pfet_01v8 sky130_fd_pr__pfet_01v8_lvt sky130_fd_pr__pfet_01v8_hvt sky130_fd_pr__pfet_g5v0d10v5} full_metal 1 viasrc 100 viadrn 100 viagate 100 viagb 0 viagr 0 viagl 0 viagt 0

# cell sky130_fd_pr__pfet_01v8_VQXX5L: kit device sky130_fd_pr__pfet_01v8, w 1 l 0.5 m 1 nf 2 diffcov 100 polycov 100 guard 0 glc 1 grc 1 gtc 1 gbc 1 tbcov 100 rlcov 100 topc 1 botc 1 poverlap 0 doverlap 1 lmin 0.15 wmin 0.42 compatible {sky130_fd_pr__pfet_01v8 sky130_fd_pr__pfet_01v8_lvt sky130_fd_pr__pfet_01v8_hvt sky130_fd_pr__pfet_g5v0d10v5} full_metal 1 viasrc 100 viadrn 100 viagate 70 viagb 0 viagr 0 viagl 0 viagt 0

# cell sky130_fd_pr__nfet_01v8_46AAJJ: kit device sky130_fd_pr__nfet_01v8, w 2 l 1 m 1 nf 1 diffcov 100 polycov 100 guard 0 glc 1 grc 1 gtc 1 gbc 1 tbcov 100 rlcov 100 topc 1 botc 1 poverlap 0 doverlap 1 lmin 0.15 wmin 0.42 compatible {sky130_fd_pr__nfet_01v8 sky130_fd_pr__nfet_01v8_lvt sky130_fd_bs_flash__special_sonosfet_star sky130_fd_pr__nfet_g5v0d10v5 sky130_fd_pr__nfet_05v0_nvt sky130_fd_pr__nfet_03v3_nvt} full_metal 1 viasrc 100 viadrn 100 viagate 70 viagb 0 viagr 0 viagl 0 viagt 0

# cell sky130_fd_pr__nfet_01v8_LGC7FM: kit device sky130_fd_pr__nfet_01v8, w 2 l 0.150 m 1 nf 1 diffcov 100 polycov 100 guard 0 glc 1 grc 1 gtc 1 gbc 1 tbcov 100 rlcov 100 topc 0 botc 0 poverlap 0 doverlap 1 lmin 0.15 wmin 0.42 compatible {sky130_fd_pr__nfet_01v8 sky130_fd_pr__nfet_01v8_lvt sky130_fd_bs_flash__special_sonosfet_star sky130_fd_pr__nfet_g5v0d10v5 sky130_fd_pr__nfet_05v0_nvt sky130_fd_pr__nfet_03v3_nvt} full_metal 1 viasrc 100 viadrn 100 viagate 70 viagb 0 viagr 0 viagl 0 viagt 0

# cell sky130_fd_pr__nfet_01v8_6H9P4D: kit device sky130_fd_pr__nfet_01v8, w 1 l 0.150 m 1 nf 1 diffcov 100 polycov 100 guard 0 glc 1 grc 1 gtc 1 gbc 1 tbcov 100 rlcov 100 topc 0 botc 0 poverlap 0 doverlap 1 lmin 0.15 wmin 0.42 compatible {sky130_fd_pr__nfet_01v8 sky130_fd_pr__nfet_01v8_lvt sky130_fd_bs_flash__special_sonosfet_star sky130_fd_pr__nfet_g5v0d10v5 sky130_fd_pr__nfet_05v0_nvt sky130_fd_pr__nfet_03v3_nvt} full_metal 1 viasrc 100 viadrn 100 viagate 100 viagb 0 viagr 0 viagl 0 viagt 0

# cell sky130_fd_pr__nfet_01v8_DXNGNZ: kit device sky130_fd_pr__nfet_01v8, w 1 l 0.8 m 1 nf 4 diffcov 100 polycov 100 guard 0 glc 1 grc 1 gtc 1 gbc 1 tbcov 100 rlcov 100 topc 1 botc 1 poverlap 0 doverlap 1 lmin 0.15 wmin 0.42 compatible {sky130_fd_pr__nfet_01v8 sky130_fd_pr__nfet_01v8_lvt sky130_fd_bs_flash__special_sonosfet_star sky130_fd_pr__nfet_g5v0d10v5 sky130_fd_pr__nfet_05v0_nvt sky130_fd_pr__nfet_03v3_nvt} full_metal 1 viasrc 100 viadrn 100 viagate 70 viagb 0 viagr 0 viagl 0 viagt 0
